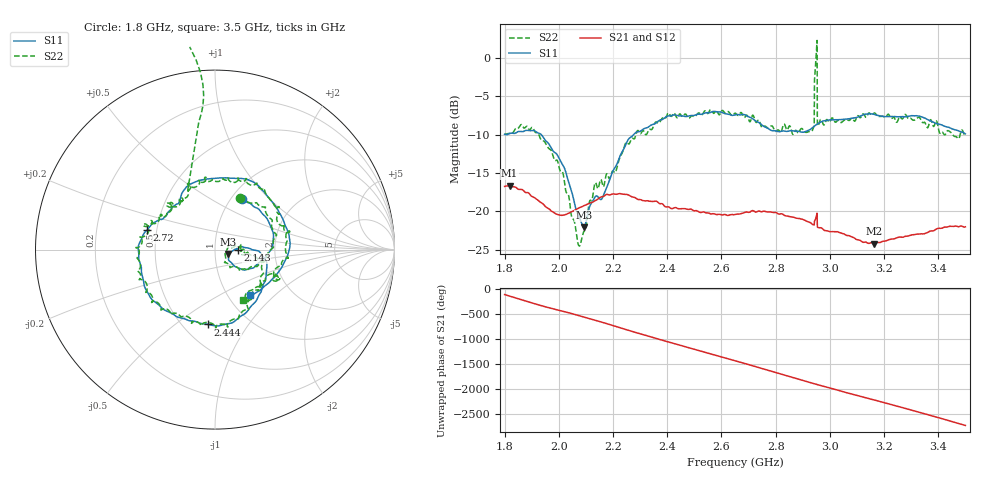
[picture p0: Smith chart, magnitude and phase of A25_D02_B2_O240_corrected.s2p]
! Created with skrf 1.9.0 (http://scikit-rf.org).
# Hz S RI R 50.0
!freq ReS11 ImS11 ReS21 ImS21 ReS12 ImS12 ReS22 ImS22
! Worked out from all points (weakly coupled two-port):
!   1601 points, 1.8 GHz to 3.5 GHz, reference 50 ohm
!   highest |S21| = -16.65 dB at 1.818 GHz (marker M1); lowest = -24.2 dB at 3.163 GHz (marker M2)
!   lowest |S11| = -22.1 dB at 2.092 GHz (marker M3), VSWR 1.17, Z = 58 - j2.78 ohm
!   |S11| at or under -10 dB: 1.935 GHz to 2.276 GHz (340.5 MHz wide, 16.2 % of centre)
!   |S22| runs from -24.5 to 2.3 dB; largest |S21 - S12| = 0.0025
!   S11 on the Smith chart (normalised r, x): 1.8 GHz: 1.12, +0.70; 2.143 GHz: 1.29, -0.00; 2.444 GHz: 0.66, -0.66; 2.72 GHz: 0.44, +0.11; 3.5 GHz: 1.26, -0.71
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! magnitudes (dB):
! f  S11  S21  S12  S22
! 1.8 GHz  -9.9  -16.7  -16.7  -9.9
! 1.818 GHz  -9.9  -16.7  -16.7  -9.8
! 1.902 GHz  -9.5  -18.1  -18.0  -9.1
! 1.968 GHz  -11.5  -19.8  -19.8  -11.9
! 2.02 GHz  -14.3  -20.5  -20.5  -15.9
! 2.071 GHz  -20.4  -19.6  -19.6  -24.2
! 2.084 GHz  -21.5  -19.4  -19.4  -23.6
! 2.092 GHz  -22.1  -19.2  -19.3  -22.6
! 2.143 GHz  -18.0  -18.4  -18.4  -17.0
! 2.209 GHz  -14.2  -17.8  -17.7  -14.9
! 2.259 GHz  -10.5  -17.9  -17.9  -11.2
! 2.367 GHz  -8.2  -18.9  -18.8  -8.5
! 2.444 GHz  -7.6  -19.6  -19.6  -7.4
! 2.65 GHz  -7.4  -20.4  -20.4  -7.2
! 2.72 GHz  -8.1  -19.9  -19.9  -7.7
! 2.934 GHz  -9.1  -21.6  -21.6  -9.5
! 2.944 GHz  -8.8  -21.2  -21.2  -2.4
! 2.952 GHz  -8.7  -20.4  -20.4  1.7
! 2.962 GHz  -8.4  -22.1  -22.1  -8.3
! 3.163 GHz  -7.3  -24.2  -24.2  -7.2
! 3.217 GHz  -7.6  -23.7  -23.6  -7.4
! 3.5 GHz  -9.9  -22.0  -22.0  -9.8
